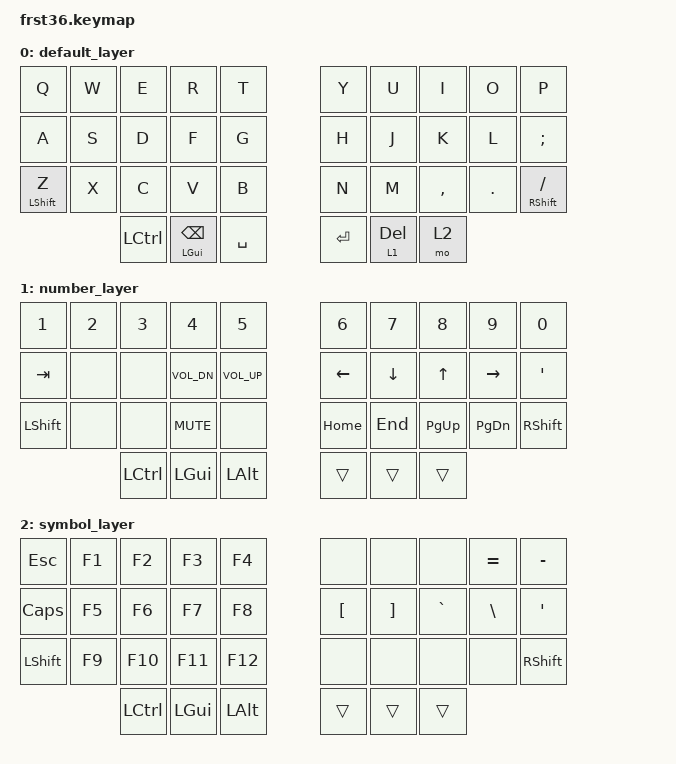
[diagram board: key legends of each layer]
/*
 * Copyright (c) 2025 Jon Sharp
 * Co-authored by Claude (Anthropic)
 * SPDX-License-Identifier: MIT
 *
 * FRST 36-key keymap - wired keyboard for Model 4 terminal
 */

#include <behaviors.dtsi>
#include <dt-bindings/zmk/keys.h>

/ {
    keymap {
        compatible = "zmk,keymap";

        default_layer {
// -----------------------------------------------------------------------------------------
// |  Q  |  W  |  E  |  R  |  T  |   |  Y  |  U  |  I  |  O  |  P  |
// |  A  |  S  |  D  |  F  |  G  |   |  H  |  J  |  K  |  L  |  ;  |
// |  Z  |  X  |  C  |  V  |  B  |   |  N  |  M  |  ,  |  .  |  /  |
//             | CTL | BSP | SPC |   | ENT | DEL | L1  |
            bindings = <
   &kp Q &kp W &kp E &kp R &kp T   &kp Y &kp U  &kp I     &kp O   &kp P
   &kp A &kp S &kp D &kp F &kp G   &kp H &kp J  &kp K     &kp L   &kp SEMI
   &mt LSHFT Z &kp X &kp C &kp V &kp B   &kp N &kp M  &kp COMMA &kp DOT &mt RSHFT FSLH
              &kp LCTRL &mt LGUI BSPC &kp SPACE   &kp RET &lt 1 DEL &mo 2
            >;
        };

        number_layer {
// -----------------------------------------------------------------------------------------
// |  1  |  2  |  3  |  4  |  5  |   |  6  |  7  |  8  |  9  |  0  |
// | TAB |     |     | VOL-| VOL+|   |  <- |  v  |  ^  |  -> |  '  |
// |LSHFT|     |     | MUTE|     |   | HOME| END |PGUP |PGDN |RSHFT|
//             | CTL | GUI | ALT |   |     |     |     |
            bindings = <
   &kp N1  &kp N2 &kp N3 &kp N4       &kp N5         &kp N6   &kp N7  &kp N8    &kp N9    &kp N0
   &kp TAB &none  &none  &kp C_VOL_DN &kp C_VOL_UP   &kp LEFT &kp DOWN &kp UP   &kp RIGHT &kp SQT
   &kp LSHFT &none &none &kp C_MUTE  &none          &kp HOME &kp END &kp PG_UP &kp PG_DN &kp RSHFT
                  &kp LCTRL &kp LGUI &kp LALT       &trans  &trans  &trans
            >;
        };

        symbol_layer {
// -----------------------------------------------------------------------------------------
// | ESC |  F1 |  F2 |  F3 |  F4 |   |     |     |     |  =  |  -  |
// |CAPS |  F5 |  F6 |  F7 |  F8 |   |  [  |  ]  |  `  |  \  |  '  |
// |LSHFT|  F9 | F10 | F11 | F12 |   |     |     |     |     |RSHFT|
//             | CTL | GUI | ALT |   |     |     |     |
            bindings = <
   &kp ESC   &kp F1 &kp F2  &kp F3  &kp F4    &none    &none    &none     &kp EQUAL &kp MINUS
   &kp CAPS  &kp F5 &kp F6  &kp F7  &kp F8    &kp LBKT &kp RBKT &kp GRAVE &kp BSLH  &kp SQT
   &kp LSHFT &kp F9 &kp F10 &kp F11 &kp F12   &none    &none    &none     &none     &kp RSHFT
                    &kp LCTRL &kp LGUI &kp LALT   &trans &trans &trans
            >;
        };
    };
};
